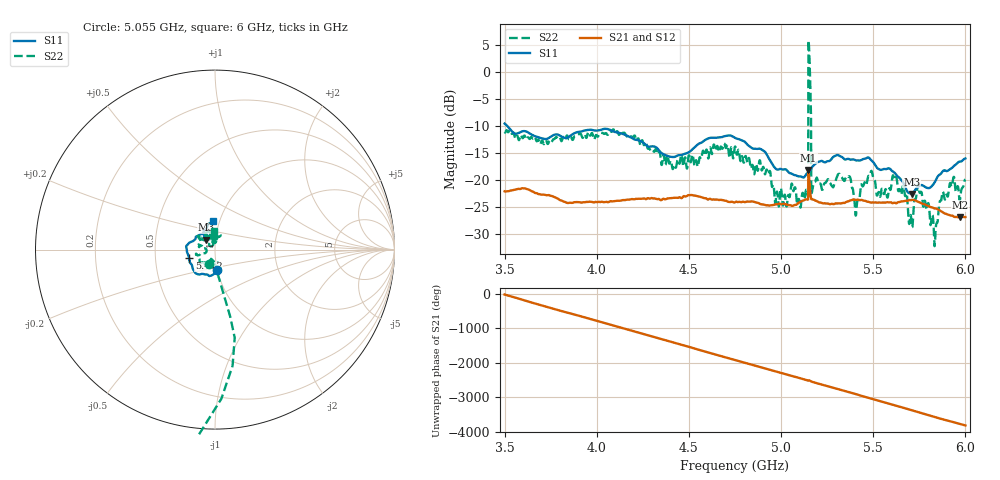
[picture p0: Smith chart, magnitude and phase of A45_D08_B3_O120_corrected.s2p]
! Created with skrf 1.9.0 (http://scikit-rf.org).
# Hz S RI R 50.0
!freq ReS11 ImS11 ReS21 ImS21 ReS12 ImS12 ReS22 ImS22
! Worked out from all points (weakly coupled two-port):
!   1601 points, 3.5 GHz to 6 GHz, reference 50 ohm
!   highest |S21| = -18.14 dB at 5.148 GHz (marker M1); lowest = -26.9 dB at 5.97 GHz (marker M2)
!   lowest |S11| = -22.5 dB at 5.709 GHz (marker M3), VSWR 1.16, Z = 45 + j5 ohm
!   |S11| at or under -10 dB: 3.514 GHz to end of sweep
!   |S22| runs from -32.2 to 5.8 dB; largest |S21 - S12| = 0.001
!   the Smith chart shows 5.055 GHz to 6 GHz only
!   S11 on the Smith chart (normalised r, x): 5.055 GHz: 0.99, -0.23; 5.412 GHz: 0.75, -0.07; 6 GHz: 0.93, +0.30
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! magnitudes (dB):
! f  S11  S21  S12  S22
! 3.5 GHz  -9.6  -22.1  -22.0  -11.1
! 3.917 GHz  -11.0  -24.2  -24.1  -11.7
! 4.334 GHz  -14.4  -23.5  -23.4  -15.1
! 4.75 GHz  -12.2  -24.1  -24.0  -13.8
! 4.978 GHz  -18.0  -24.5  -24.4  -22.1
! 5.055 GHz  -18.8  -24.7  -24.6  -21.1
! 5.134 GHz  -19.0  -23.5  -23.5  -22.0
! 5.148 GHz  -18.5  -18.1  -18.2  5.8
! 5.161 GHz  -18.0  -23.0  -23.0  -6.0
! 5.167 GHz  -17.7  -23.6  -23.5  -22.3
! 5.177 GHz  -17.3  -23.6  -23.6  -20.6
! 5.366 GHz  -16.1  -23.9  -23.9  -19.4
! 5.412 GHz  -16.4  -23.6  -23.6  -24.1
! 5.484 GHz  -16.1  -24.1  -24.1  -18.7
! 5.584 GHz  -17.8  -24.1  -24.1  -21.9
! 5.617 GHz  -18.7  -24.2  -24.2  -19.9
! 5.709 GHz  -22.5  -23.6  -23.6  -28.3
! 5.75 GHz  -21.1  -24.1  -24.1  -22.1
! 5.839 GHz  -20.0  -25.2  -25.2  -29.1
! 5.872 GHz  -18.6  -25.8  -25.8  -23.1
! 5.97 GHz  -16.6  -26.9  -26.8  -23.8
! 6 GHz  -16.0  -26.8  -26.8  -19.9
